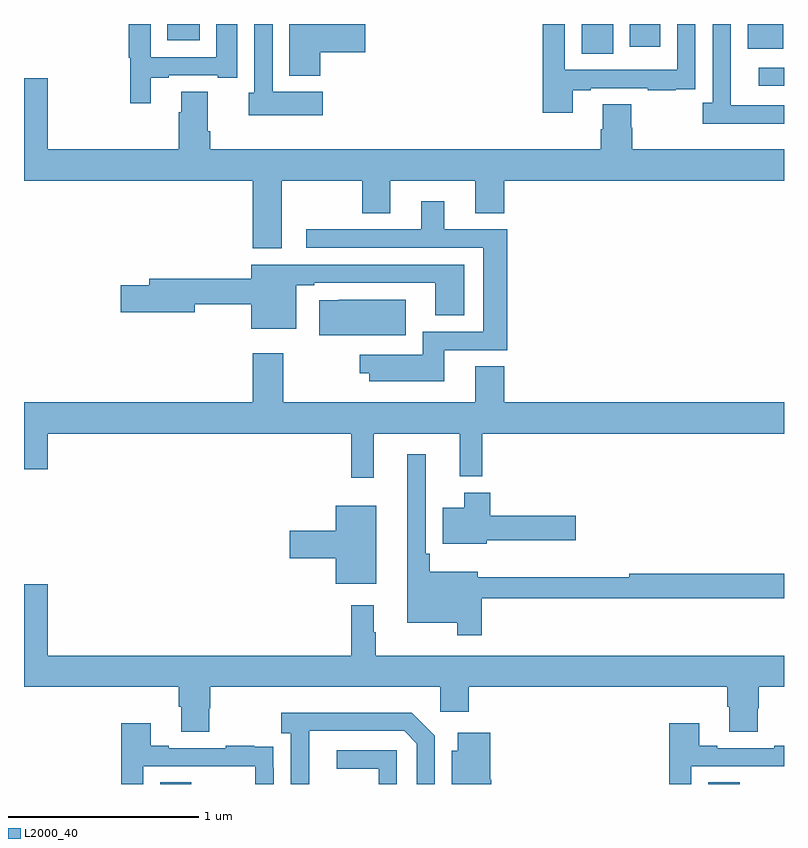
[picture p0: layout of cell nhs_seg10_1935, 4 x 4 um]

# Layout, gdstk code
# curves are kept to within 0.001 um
import gdstk
lib = gdstk.Library(unit=1e-6, precision=1e-09)
def R(c, l, rs):  # rectangles x0, y0, x1, y1
    for r in rs: c.add(gdstk.rectangle(r[:2], r[2:], *l))
def P(c, l, *ps):  # polygons
    for p in ps: c.add(gdstk.Polygon(p, *l))
L2000_40 = (2000, 40)

nhs_seg10_1935 = lib.new_cell('nhs_seg10_1935')
R(nhs_seg10_1935, L2000_40, [(213.716,1270.5,213.88,1270.508), (216.602,1270.5,216.766,1270.508), (216.867,1274.175,217,1274.271), (215.936,1274.344,216.1,1274.5), (216.809,1274.369,216.997,1274.5), (216.188,1274.379,216.349,1274.5), (213.755,1274.414,213.925,1274.5)])
P(nhs_seg10_1935, L2000_40, [(213.667,1274.217),(213.763,1274.217),(213.763,1274.229),(214.019,1274.229),(214.019,1274.217),(214.123,1274.217),(214.123,1274.5),(214.013,1274.5),(214.013,1274.325),(213.666,1274.325),(213.666,1274.5),(213.55,1274.5),(213.55,1274.322),(213.558,1274.322),(213.558,1274.082),(213.667,1274.082)],
  [(214.573,1274.143),(214.308,1274.143),(214.308,1274.5),(214.212,1274.5),(214.212,1274.139),(214.184,1274.139),(214.184,1274.021),(214.573,1274.021)],
  [(214.559,1274.351),(214.795,1274.351),(214.795,1274.498),(214.559,1274.498),(214.559,1274.5),(214.397,1274.5),(214.397,1274.228),(214.559,1274.228)],
  [(215.887,1274.151),(215.983,1274.151),(215.983,1274.163),(216.283,1274.163),(216.283,1274.151),(216.431,1274.151),(216.431,1274.157),(216.533,1274.157),(216.533,1274.266),(216.534,1274.266),(216.534,1274.5),(216.438,1274.5),(216.438,1274.259),(215.847,1274.259),(215.847,1274.5),(215.731,1274.5),(215.731,1274.034),(215.887,1274.034)],
  [(217,1274.073),(216.721,1274.073),(216.721,1274.273),(216.72,1274.273),(216.72,1274.5),(216.624,1274.5),(216.624,1274.086),(216.573,1274.086),(216.573,1273.976),(217,1273.976)],
  [(214.357,1273.676),(214.78,1273.676),(214.78,1273.504),(214.927,1273.504),(214.927,1273.676),(215.375,1273.676),(215.375,1273.504),(215.528,1273.504),(215.528,1273.676),(217,1273.676),(217,1273.84),(216.2,1273.84),(216.2,1273.953),(216.195,1273.953),(216.195,1274.078),(216.047,1274.078),(216.047,1273.946),(216.035,1273.946),(216.035,1273.84),(213.98,1273.84),(213.98,1273.936),(213.967,1273.936),(213.967,1274.144),(213.827,1274.144),(213.827,1274.036),(213.815,1274.036),(213.815,1273.84),(213.124,1273.84),(213.124,1274.215),(213,1274.215),(213,1273.676),(214.205,1273.676),(214.205,1273.319),(214.357,1273.319)],
  [(215.212,1272.783),(215.543,1272.783),(215.543,1273.419),(215.212,1273.419),(215.212,1273.567),(215.09,1273.567),(215.09,1273.419),(214.485,1273.419),(214.485,1273.323),(215.417,1273.323),(215.417,1272.879),(215.099,1272.879),(215.099,1272.759),(214.767,1272.759),(214.767,1272.662),(214.817,1272.662),(214.817,1272.62),(215.212,1272.62)],
  [(214.432,1273.124),(214.528,1273.124),(214.528,1273.137),(215.165,1273.137),(215.165,1272.966),(215.317,1272.966),(215.317,1273.233),(214.196,1273.233),(214.196,1273.16),(213.659,1273.16),(213.659,1273.124),(213.51,1273.124),(213.51,1272.982),(213.898,1272.982),(213.898,1273.024),(214.196,1273.024),(214.196,1272.896),(214.432,1272.896)],
  [(215.008,1273.048),(214.657,1273.048),(214.657,1273.047),(214.554,1273.047),(214.554,1272.863),(215.008,1272.863)],
  [(214.841,1272.344),(215.294,1272.344),(215.294,1272.119),(215.411,1272.119),(215.411,1272.344),(217,1272.344),(217,1272.508),(215.528,1272.508),(215.528,1272.698),(215.375,1272.698),(215.375,1272.508),(214.365,1272.508),(214.365,1272.766),(214.205,1272.766),(214.205,1272.508),(213,1272.508),(213,1272.156),(213.124,1272.156),(213.124,1272.344),(214.723,1272.344),(214.723,1272.111),(214.841,1272.111)],
  [(215.408,1271.478),(217,1271.478),(217,1271.606),(216.185,1271.606),(216.185,1271.588),(215.389,1271.588),(215.389,1271.617),(215.135,1271.617),(215.135,1271.713),(215.115,1271.713),(215.115,1272.235),(215.018,1272.235),(215.018,1271.348),(215.28,1271.348),(215.28,1271.283),(215.408,1271.283)],
  [(215.436,1271.783),(215.905,1271.783),(215.905,1271.913),(215.453,1271.913),(215.453,1272.034),(215.318,1272.034),(215.318,1271.953),(215.204,1271.953),(215.204,1271.765),(215.436,1271.765)],
  [(214.855,1271.965),(214.64,1271.965),(214.64,1271.834),(214.398,1271.834),(214.398,1271.687),(214.64,1271.687),(214.64,1271.555),(214.855,1271.555)],
  [(213.975,1270.899),(213.98,1270.899),(213.98,1271.012),(215.19,1271.012),(215.19,1270.881),(215.342,1270.881),(215.342,1271.012),(216.701,1271.012),(216.701,1270.906),(216.713,1270.906),(216.713,1270.774),(216.861,1270.774),(216.861,1270.899),(216.866,1270.899),(216.866,1271.012),(217,1271.012),(217,1271.176),(214.852,1271.176),(214.852,1271.3),(214.84,1271.3),(214.84,1271.44),(214.723,1271.44),(214.723,1271.176),(213.124,1271.176),(213.124,1271.551),(213,1271.551),(213,1271.012),(213.815,1271.012),(213.815,1270.906),(213.827,1270.906),(213.827,1270.774),(213.975,1270.774)],
  [(214.5,1270.579),(214.501,1270.779),(215.001,1270.779),(215.067,1270.713),(215.067,1270.5),(215.163,1270.5),(215.163,1270.755),(215.042,1270.876),(214.353,1270.876),(214.353,1270.766),(214.404,1270.766),(214.404,1270.5),(214.5,1270.5)],
  [(213.627,1270.593),(214.218,1270.593),(214.218,1270.5),(214.314,1270.5),(214.314,1270.586),(214.313,1270.586),(214.313,1270.695),(214.211,1270.695),(214.211,1270.702),(214.063,1270.702),(214.063,1270.689),(213.763,1270.689),(213.763,1270.702),(213.667,1270.702),(213.667,1270.819),(213.511,1270.819),(213.511,1270.5),(213.627,1270.5)],
  [(216.513,1270.593),(217,1270.593),(217,1270.702),(216.949,1270.702),(216.949,1270.689),(216.649,1270.689),(216.649,1270.702),(216.553,1270.702),(216.553,1270.819),(216.397,1270.819),(216.397,1270.5),(216.513,1270.5)],
  [(215.459,1270.522),(215.453,1270.522),(215.453,1270.771),(215.282,1270.771),(215.282,1270.675),(215.252,1270.675),(215.252,1270.5),(215.459,1270.5)],
  [(214.962,1270.677),(214.647,1270.677),(214.647,1270.581),(214.866,1270.581),(214.866,1270.5),(214.962,1270.5)])

lib.write_gds('nhs_seg10_1935.gds')
